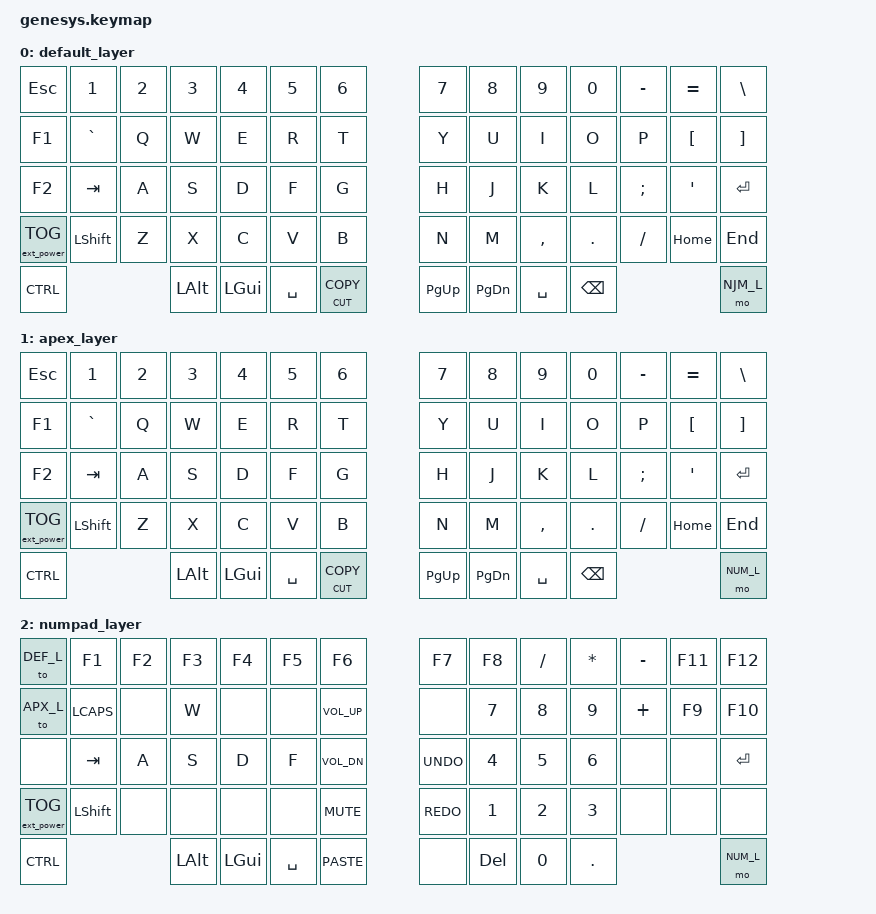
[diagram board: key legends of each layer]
/*
 * Copyright (c) 2022 The ZMK Contributors
 *
 * SPDX-License-Identifier: MIT
 */

#include <behaviors.dtsi>
#include <dt-bindings/zmk/keys.h>
#include <dt-bindings/zmk/bt.h>
#include <dt-bindings/zmk/backlight.h>
#include <dt-bindings/zmk/ext_power.h>

#define DEF_L 0
#define APX_L 1
#define NUM_L 2

// Using layer taps on thumbs, having quick tap as well helps w/ repeating space/backspace
&lt { quick_tap_ms = <200>; };

/ {

    keymap {
        compatible = "zmk,keymap";

		default_layer {
     /*
      * ┌───┬───┬───┬───┬───┬───┬───┐       ┌───┬───┬───┬───┬───┬───┬───┐
      * │Esc│ 1 │ 2 │ 3 │ 4 │ 5 │ 6 │       │ 7 │ 8 │ 9 │ 0 │ - │ = │ \ │
      * ├───┼───┼───┼───┼───┼───┼───┤       ├───┼───┼───┼───┼───┼───┼───┤
      * │ F1│ ` │ Q │ W │ E │ R │ T │       │ Y │ U │ I │ O │ P │ [ │ ] │
      * ├───┼───┼───┼───┼───┼───┼───┤       ├───┼───┼───┼───┼───┼───┼───┤ 
      * │ F2│Tab│ A │ S │ D │ F │ G │       │ H │ J │ K │ L │ ; │ ' │Ent│
      * ├───┼───┼───┼───┼───┼───┼───┤       ├───┼───┼───┼───┼───┼───┼───┤
      * │PWR│Sft│ Z │ X │ C │ V │ B │       │ N │ M │ , │ . │ / │Hom│End│
      * └───┴───┴───┴───┴───┴───┴───┘       └───┴───┴───┴───┴───┴───┴───┘
      * ┌───┐       ┌───┬───┐                   ┌───┬───┐           ┌───┐
      * │Ctl│       │Alt│Win├───┐           ┌───┤Spa│BSP│           │Lyr│
      * └───┘       └───┴───┤Spa├───┐   ┌───┤PDN├───┴───┘           └───┘
      *                     └───┤CPY│   │PUP├───┘
      *                         └───┘   └───┘
      */

			bindings = <
&kp ESC   &kp N1    &kp N2    &kp N3    &kp N4    &kp N5    &kp N6              &kp N7    &kp N8    &kp N9    &kp N0    &kp MINUS &kp EQUAL &kp BSLH      
&kp F1    &kp GRAVE &kp Q     &kp W     &kp E     &kp R     &kp T               &kp Y     &kp U     &kp I     &kp O     &kp P     &kp LBKT  &kp RBKT  
&kp F2    &kp TAB   &kp A     &kp S     &kp D     &kp F     &kp G               &kp H     &kp J     &kp K     &kp L     &kp SEMI  &kp SQT   &kp ENTER
&ext_power EP_TOG   &kp LSHFT &kp Z     &kp X     &kp C     &kp V     &kp B               &kp N     &kp M     &kp COMMA &kp DOT   &kp FSLH  &kp HOME  &kp END   
&kp CTRL                      &kp LALT  &kp LGUI  &kp SPACE &ht_hp K_CUT K_COPY &kp PG_UP &kp PG_DN &kp SPACE &kp BSPC                      &mo NJM_L

			>;

		};
		
		apex_layer {
     /*
      * ┌───┬───┬───┬───┬───┬───┬───┐       ┌───┬───┬───┬───┬───┬───┬───┐
      * │Esc│ 1 │ 2 │ 3 │ 4 │ 5 │ 6 │       │ 7 │ 8 │ 9 │ 0 │ - │ = │ \ │
      * ├───┼───┼───┼───┼───┼───┼───┤       ├───┼───┼───┼───┼───┼───┼───┤
      * │ F1│ ` │ Q │ W │ E │ R │ T │       │ Y │ U │ I │ O │ P │ [ │ ] │
      * ├───┼───┼───┼───┼───┼───┼───┤       ├───┼───┼───┼───┼───┼───┼───┤ 
      * │ F2│Tab│ A │ S │ D │ F │ G │       │ H │ J │ K │ L │ ; │ ' │Ent│
      * ├───┼───┼───┼───┼───┼───┼───┤       ├───┼───┼───┼───┼───┼───┼───┤
      * │PWR│Sft│ Z │ X │ C │ V │ B │       │ N │ M │ , │ . │ / │Hom│End│
      * └───┴───┴───┴───┴───┴───┴───┘       └───┴───┴───┴───┴───┴───┴───┘
      * ┌───┐       ┌───┬───┐                   ┌───┬───┐           ┌───┐
      * │Ctl│       │Alt│Win├───┐           ┌───┤Spa│BSP│           │Lyr│
      * └───┘       └───┴───┤Spa├───┐   ┌───┤PDN├───┴───┘           └───┘
      *                     └───┤CPY│   │PUP├───┘
      *                         └───┘   └───┘
      */

			bindings = <
&kp ESC   &kp N1    &kp N2    &kp N3    &kp N4    &kp N5    &kp N6              &kp N7    &kp N8    &kp N9    &kp N0    &kp MINUS &kp EQUAL &kp BSLH      
&kp F1    &kp GRAVE &kp Q     &kp W     &kp E     &kp R     &kp T               &kp Y     &kp U     &kp I     &kp O     &kp P     &kp LBKT  &kp RBKT  
&kp F2    &kp TAB   &kp A     &kp S     &kp D     &kp F     &kp G               &kp H     &kp J     &kp K     &kp L     &kp SEMI  &kp SQT   &kp ENTER
&ext_power EP_TOG    &kp LSHFT &kp Z     &kp X     &kp C     &kp V     &kp B               &kp N     &kp M     &kp COMMA &kp DOT   &kp FSLH  &kp HOME  &kp END   
&kp CTRL                      &kp LALT  &kp LGUI  &kp SPACE &ht_hp K_CUT K_COPY &kp PG_UP &kp PG_DN &kp SPACE &kp BSPC                      &mo NUM_L   

			>;		
    };

		numpad_layer {
     /*
      * ┌───┬───┬───┬───┬───┬───┬───┐       ┌───┬───┬───┬───┬───┬───┬───┐
      * │DEF│ F1│ F2│ F3│ F4│ F5│ F6│       │ F7│ F8│ / │ * │ - │F11│F12│
      * ├───┼───┼───┼───┼───┼───┼───┤       ├───┼───┼───┼───┼───┼───┼───┤
      * │APX│CAP│ x │ UP│ x │ x │VUP│       │ x │ 7 │ 8 │ 9 │ + │ F9│F10│
      * ├───┼───┼───┼───┼───┼───┼───┤       ├───┼───┼───┼───┼───┼───┼───┤ 
      * │ x │Tab│LFT│DWN│RGT│ x │VDN│       │UND│ 4 │ 5 │ 6 │ x │ x │Ent│
      * ├───┼───┼───┼───┼───┼───┼───┤       ├───┼───┼───┼───┼───┼───┼───┤
      * │PWR│Sft│ x │ x │ x │ x │MUT│       │RED│ 1 │ 2 │ 3 │ x │ x │ x │
      * └───┴───┴───┴───┴───┴───┴───┘       └───┴───┴───┴───┴───┴───┴───┘
      * ┌───┐       ┌───┬───┐                   ┌───┬───┐           ┌───┐
      * │Ctl│       │Alt│Win├───┐           ┌───┤ 0 │ . │           │Lyr│
      * └───┘       └───┴───┤Spa├───┐   ┌───┤Del├───┴───┘           └───┘
      *                     └───┤PST│   │ x ├───┘
      *                         └───┘   └───┘
      */

			bindings = <
&to DEF_L &kp F1    &kp F2    &kp F3    &kp F4    &kp F5    &kp F6              &kp F7    &kp F8    &kp FSLH  &kp STAR  &kp MINUS &kp F11   &kp F12       
&to APX_L &kp LCAPS &none     &kp W     &none     &none     &kp K_VOL_UP        &none     &kp N7    &kp N8    &kp N9    &kp PLUS  &kp F9    &kp F10 
&none     &kp TAB   &kp A     &kp S     &kp D     &kp F     &kp K_VOL_DN        &kp K_UNDO &kp N4   &kp N5    &kp N6    &none     &none     &kp ENTER
&ext_power EP_TOG    &kp LSHFT &none     &none     &none     &none     &kp K_MUTE          &kp K_REDO &kp N1   &kp N2    &kp N3    &none     &none     &none   
&kp CTRL                      &kp LALT  &kp LGUI  &kp SPACE &kp K_PASTE         &none     &kp DEL   &kp N0    &kp DOT                       &mo NUM_L  

			>;

		};
		
};
